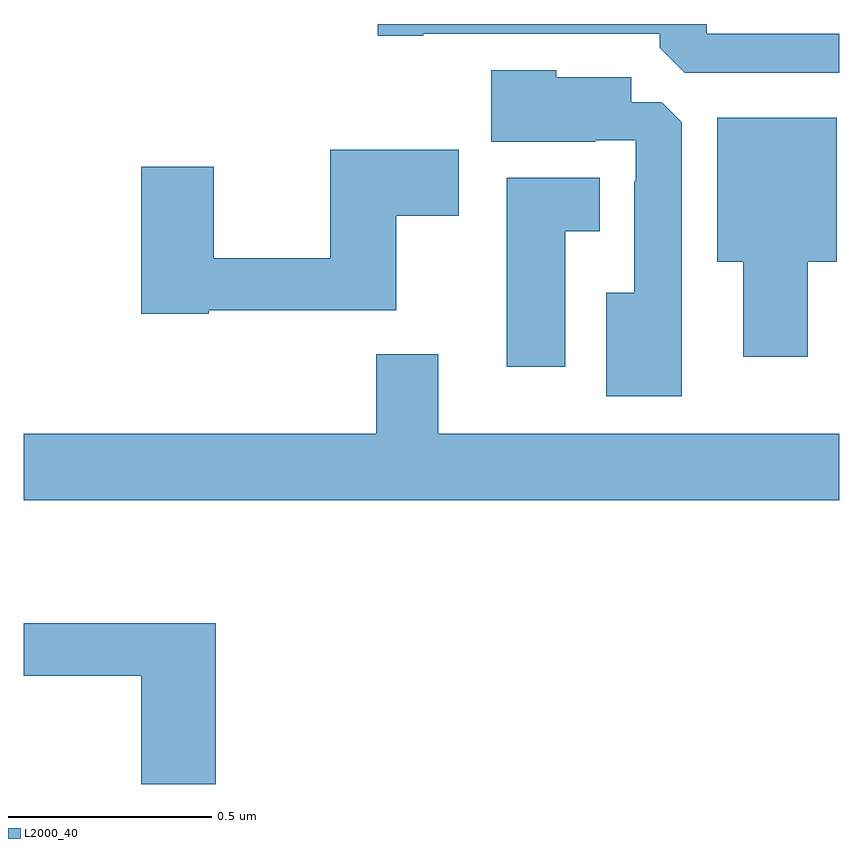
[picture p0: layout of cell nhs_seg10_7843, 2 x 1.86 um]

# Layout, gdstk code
import gdstk
lib = gdstk.Library(unit=1e-6, precision=1e-09)
def P(c, l, *ps):  # polygons
    for p in ps: c.add(gdstk.Polygon(p, *l))
L2000_40 = (2000, 40)

nhs_seg10_7843 = lib.new_cell('nhs_seg10_7843')
P(nhs_seg10_7843, L2000_40, [(211,1285.476),(210.675,1285.476),(210.675,1285.5),(209.868,1285.5),(209.868,1285.471),(209.98,1285.471),(209.98,1285.476),(210.56,1285.476),(210.56,1285.442),(210.621,1285.38),(211,1285.38)],
  [(210.613,1285.259),(210.564,1285.308),(210.49,1285.308),(210.49,1285.369),(210.306,1285.369),(210.306,1285.387),(210.146,1285.387),(210.146,1285.211),(210.401,1285.211),(210.401,1285.215),(210.501,1285.215),(210.501,1285.115),(210.497,1285.115),(210.497,1284.841),(210.428,1284.841),(210.428,1284.587),(210.613,1284.587)],
  [(210.922,1284.917),(210.994,1284.917),(210.994,1285.27),(210.701,1285.27),(210.701,1284.917),(210.764,1284.917),(210.764,1284.684),(210.922,1284.684)],
  [(209.454,1284.798),(209.914,1284.798),(209.914,1285.03),(210.067,1285.03),(210.067,1285.192),(209.752,1285.192),(209.752,1284.926),(209.466,1284.926),(209.466,1285.15),(209.288,1285.15),(209.288,1284.79),(209.454,1284.79)],
  [(210.328,1284.992),(210.412,1284.992),(210.412,1285.123),(210.185,1285.123),(210.185,1284.66),(210.328,1284.66)],
  [(211,1284.496),(210.016,1284.496),(210.016,1284.691),(209.864,1284.691),(209.864,1284.496),(209,1284.496),(209,1284.332),(211,1284.332)],
  [(209.471,1284.031),(209,1284.031),(209,1283.902),(209.288,1283.902),(209.288,1283.637),(209.471,1283.637)])

lib.write_gds('nhs_seg10_7843.gds')
